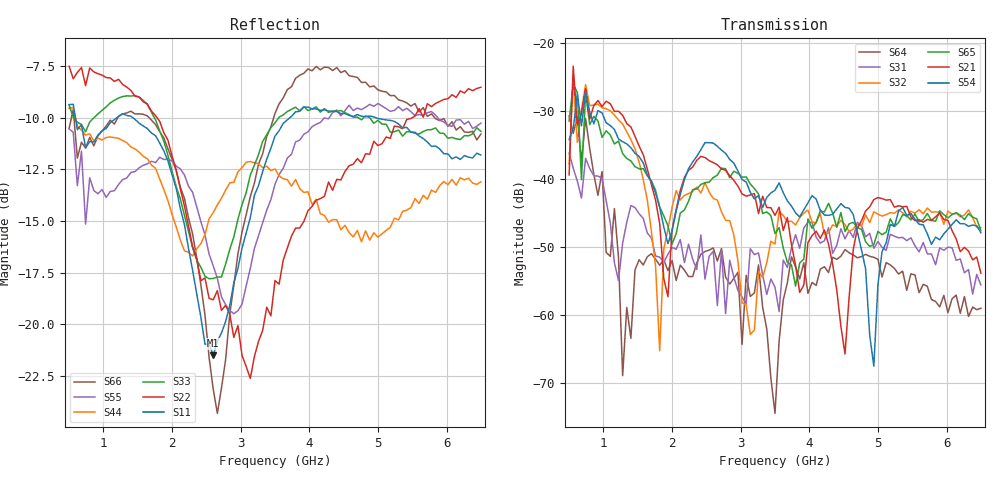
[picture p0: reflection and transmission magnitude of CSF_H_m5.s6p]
!Keysight Technologies,M9804A,MY58100912,A.14.10.03
!Date: Thursday, April 27, 2023 10:28:33
!Correction: S11(C  6-Port  )
!S12(C  6-Port  )
!S13(C  6-Port  )
!S14(C  6-Port  )
!S15(C  6-Port  )
!S16(C  6-Port  )
!S21(C  6-Port  )
!S22(C  6-Port  )
!S23(C  6-Port  )
!S24(C  6-Port  )
!S25(C  6-Port  )
!S26(C  6-Port  )
!S31(C  6-Port  )
!S32(C  6-Port  )
!S33(C  6-Port  )
!S34(C  6-Port  )
!S35(C  6-Port  )
!S36(C  6-Port  )
!S41(C  6-Port  )
!S42(C  6-Port  )
!S43(C  6-Port  )
!S44(C  6-Port  )
!S45(C  6-Port  )
!S46(C  6-Port  )
!S51(C  6-Port  )
!S52(C  6-Port  )
!S53(C  6-Port  )
!S54(C  6-Port  )
!S55(C  6-Port  )
!S56(C  6-Port  )
!S61(C  6-Port  )
!S62(C  6-Port  )
!S63(C  6-Port  )
!S64(C  6-Port  )
!S65(C  6-Port  )
!S66(C  6-Port  )
!S6P File: Measurement: :
# Hz S  RI  R 50
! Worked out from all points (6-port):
!   101 points, 500 MHz to 6.5 GHz, reference 50 ohm
!   strongest paths, dB at 500 MHz, 2 GHz, 3.5 GHz, 5 GHz, 6.5 GHz:
!     S54: -34.2, -47.7, -41.6, -55.5, -47.9
!     S21: -39.4, -47.4, -45.3, -42.7, -53.8
!     S65: -31.5, -49.6, -48.0, -47.7, -47.6
!     S32: -37.8, -44.2, -49.6, -45.2, -47.2
!     S31: -36.2, -50.0, -55.9, -49.2, -55.6
!     S64: -30.7, -52.0, -74.4, -51.8, -59.0
!   lowest |S11| = -21.5 dB at 2.6 GHz (marker M1), VSWR 1.18, Z = 42.5 + j2.14 ohm
!   |S11| at or under -10 dB: 592 MHz to 1.193 GHz (601.3 MHz wide, 67.4 % of centre); 1.432 GHz to 3.714 GHz (2.282 GHz wide, 88.7 % of centre); 4.976 GHz to end of sweep
